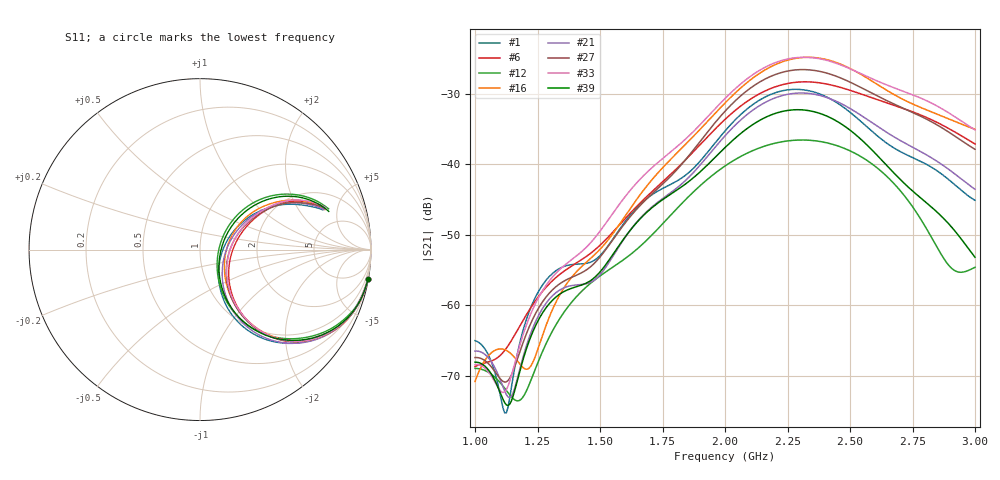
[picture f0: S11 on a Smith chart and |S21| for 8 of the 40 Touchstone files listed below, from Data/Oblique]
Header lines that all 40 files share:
! TOUCHSTONE file generated by CST MICROWAVE STUDIO
! Project name: oblique.cst
! Header version: 2024
! Port assignment regex: !\s*Touchstone port\s*([0-9]+)\s*=\s*(CST MWS port|CST DES external port|CST DES block port)\s*(.+)\s* \(\"(.*)\"\)(\s*mode\s*([0-9]+))?.*
! Touchstone port assignment:
! Touchstone port 1 = CST MWS port 1 ("")
! Touchstone port 2 = CST MWS port 2 ("")
# GHz S DB R 50
Fixed: Tilt = 30, Fracture = 1, D = 160, Feed = 2.85625, L = 100, R = 0.384908, length = 57.125, wave = 114.25
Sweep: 1 GHz to 3 GHz
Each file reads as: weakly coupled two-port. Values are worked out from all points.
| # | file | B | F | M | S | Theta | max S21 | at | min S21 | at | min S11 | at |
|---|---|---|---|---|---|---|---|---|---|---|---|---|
| 1 | oblique_41.s2p | 10 | 25 | 30 | 1 | 180 | -29.36 dB | 2.281 GHz | -75.3 dB | 1.119 GHz | -17.9 dB | 2.347 GHz |
| 2 | oblique_42.s2p | 10 | 25 | 30 | 1 | 270 | -29.36 dB | 2.281 GHz | -75.3 dB | 1.119 GHz | -17.9 dB | 2.347 GHz |
| 3 | oblique_43.s2p | 10 | 25 | 50 | 1 | 90 | -35.05 dB | 2.285 GHz | -72.6 dB | 1.139 GHz | -18.7 dB | 2.384 GHz |
| 4 | oblique_44.s2p | 10 | 25 | 50 | 1 | 180 | -35.05 dB | 2.285 GHz | -72.6 dB | 1.139 GHz | -18.7 dB | 2.384 GHz |
| 5 | oblique_45.s2p | 10 | 25 | 50 | 1 | 270 | -35.05 dB | 2.285 GHz | -72.6 dB | 1.139 GHz | -18.7 dB | 2.384 GHz |
| 6 | oblique_46.s2p | 10 | 25 | 10 | 2 | 90 | -28.29 dB | 2.322 GHz | -68.7 dB | 1 GHz | -14.7 dB | 2.355 GHz |
| 7 | oblique_47.s2p | 10 | 25 | 10 | 2 | 180 | -28.29 dB | 2.322 GHz | -68.7 dB | 1 GHz | -14.7 dB | 2.355 GHz |
| 8 | oblique_48.s2p | 10 | 25 | 10 | 2 | 270 | -28.29 dB | 2.322 GHz | -68.7 dB | 1 GHz | -14.7 dB | 2.355 GHz |
| 9 | oblique_49.s2p | 10 | 25 | 30 | 2 | 90 | -29.89 dB | 2.287 GHz | -72.2 dB | 1.132 GHz | -18.3 dB | 2.34 GHz |
| 10 | oblique_50.s2p | 10 | 25 | 30 | 2 | 180 | -29.89 dB | 2.287 GHz | -72.2 dB | 1.132 GHz | -18.3 dB | 2.34 GHz |
| 11 | oblique_51.s2p | 10 | 25 | 30 | 2 | 270 | -29.89 dB | 2.287 GHz | -72.2 dB | 1.132 GHz | -18.3 dB | 2.34 GHz |
| 12 | oblique_52.s2p | 10 | 25 | 50 | 2 | 90 | -36.55 dB | 2.308 GHz | -73.6 dB | 1.167 GHz | -19.3 dB | 2.384 GHz |
| 13 | oblique_53.s2p | 10 | 25 | 50 | 2 | 180 | -36.55 dB | 2.308 GHz | -73.6 dB | 1.167 GHz | -19.3 dB | 2.384 GHz |
| 14 | oblique_54.s2p | 10 | 25 | 50 | 2 | 270 | -36.55 dB | 2.308 GHz | -73.6 dB | 1.167 GHz | -19.3 dB | 2.384 GHz |
| 15 | oblique_55.s2p | 12.5 | 5 | 10 | 1 | 90 | -24.80 dB | 2.329 GHz | -70.8 dB | 1 GHz | -16.4 dB | 2.375 GHz |
| 16 | oblique_56.s2p | 12.5 | 5 | 10 | 1 | 180 | -24.80 dB | 2.329 GHz | -70.9 dB | 1 GHz | -16.4 dB | 2.375 GHz |
| 17 | oblique_57.s2p | 12.5 | 5 | 10 | 1 | 270 | -24.80 dB | 2.329 GHz | -70.8 dB | 1 GHz | -16.4 dB | 2.375 GHz |
| 18 | oblique_58.s2p | 12.5 | 5 | 30 | 1 | 90 | -26.50 dB | 2.311 GHz | -71.8 dB | 1.126 GHz | -15.6 dB | 2.351 GHz |
| 19 | oblique_59.s2p | 12.5 | 5 | 30 | 1 | 180 | -26.50 dB | 2.311 GHz | -71.8 dB | 1.126 GHz | -15.6 dB | 2.351 GHz |
| 20 | oblique_60.s2p | 12.5 | 5 | 30 | 1 | 270 | -26.50 dB | 2.311 GHz | -71.8 dB | 1.126 GHz | -15.6 dB | 2.351 GHz |
| 21 | oblique_61.s2p | 12.5 | 5 | 50 | 1 | 90 | -29.88 dB | 2.307 GHz | -73.1 dB | 1.139 GHz | -16.6 dB | 2.347 GHz |
| 22 | oblique_62.s2p | 12.5 | 5 | 50 | 1 | 180 | -29.88 dB | 2.307 GHz | -73.1 dB | 1.139 GHz | -16.6 dB | 2.347 GHz |
| 23 | oblique_63.s2p | 12.5 | 5 | 50 | 1 | 270 | -29.88 dB | 2.307 GHz | -73.1 dB | 1.139 GHz | -16.6 dB | 2.347 GHz |
| 24 | oblique_64.s2p | 12.5 | 5 | 10 | 2 | 90 | -25.50 dB | 2.333 GHz | -71.1 dB | 1 GHz | -16.1 dB | 2.366 GHz |
| 25 | oblique_65.s2p | 12.5 | 5 | 10 | 2 | 180 | -25.50 dB | 2.333 GHz | -71.1 dB | 1 GHz | -16.1 dB | 2.366 GHz |
| 26 | oblique_66.s2p | 12.5 | 5 | 10 | 2 | 270 | -25.50 dB | 2.333 GHz | -71.1 dB | 1 GHz | -16.1 dB | 2.366 GHz |
| 27 | oblique_67.s2p | 12.5 | 5 | 30 | 2 | 90 | -26.55 dB | 2.314 GHz | -70.9 dB | 1.119 GHz | -15.5 dB | 2.353 GHz |
| 28 | oblique_68.s2p | 12.5 | 5 | 30 | 2 | 180 | -26.55 dB | 2.314 GHz | -70.9 dB | 1.119 GHz | -15.5 dB | 2.353 GHz |
| 29 | oblique_69.s2p | 12.5 | 5 | 30 | 2 | 270 | -26.55 dB | 2.314 GHz | -70.9 dB | 1.119 GHz | -15.5 dB | 2.353 GHz |
| 30 | oblique_70.s2p | 12.5 | 5 | 50 | 2 | 90 | -29.51 dB | 2.307 GHz | -73.2 dB | 1.139 GHz | -17.8 dB | 2.353 GHz |
| 31 | oblique_71.s2p | 12.5 | 5 | 50 | 2 | 180 | -29.51 dB | 2.307 GHz | -73.2 dB | 1.139 GHz | -17.8 dB | 2.353 GHz |
| 32 | oblique_72.s2p | 12.5 | 5 | 50 | 2 | 270 | -29.51 dB | 2.307 GHz | -73.2 dB | 1.139 GHz | -17.8 dB | 2.353 GHz |
| 33 | oblique_73.s2p | 12.5 | 15 | 10 | 1 | 90 | -24.80 dB | 2.318 GHz | -72.4 dB | 1.113 GHz | -15.4 dB | 2.364 GHz |
| 34 | oblique_74.s2p | 12.5 | 15 | 10 | 1 | 180 | -24.80 dB | 2.318 GHz | -72.4 dB | 1.113 GHz | -15.4 dB | 2.364 GHz |
| 35 | oblique_75.s2p | 12.5 | 15 | 10 | 1 | 270 | -24.80 dB | 2.318 GHz | -72.4 dB | 1.113 GHz | -15.4 dB | 2.364 GHz |
| 36 | oblique_76.s2p | 12.5 | 15 | 30 | 1 | 90 | -26.59 dB | 2.294 GHz | -78.4 dB | 1.125 GHz | -17.0 dB | 2.353 GHz |
| 37 | oblique_77.s2p | 12.5 | 15 | 30 | 1 | 180 | -26.59 dB | 2.294 GHz | -78.4 dB | 1.125 GHz | -17.0 dB | 2.353 GHz |
| 38 | oblique_78.s2p | 12.5 | 15 | 30 | 1 | 270 | -26.59 dB | 2.294 GHz | -78.4 dB | 1.125 GHz | -17.0 dB | 2.353 GHz |
| 39 | oblique_79.s2p | 12.5 | 15 | 50 | 1 | 90 | -32.25 dB | 2.291 GHz | -74.3 dB | 1.132 GHz | -18.4 dB | 2.364 GHz |
| 40 | oblique_80.s2p | 12.5 | 15 | 50 | 1 | 180 | -32.25 dB | 2.291 GHz | -74.3 dB | 1.132 GHz | -18.4 dB | 2.364 GHz |
